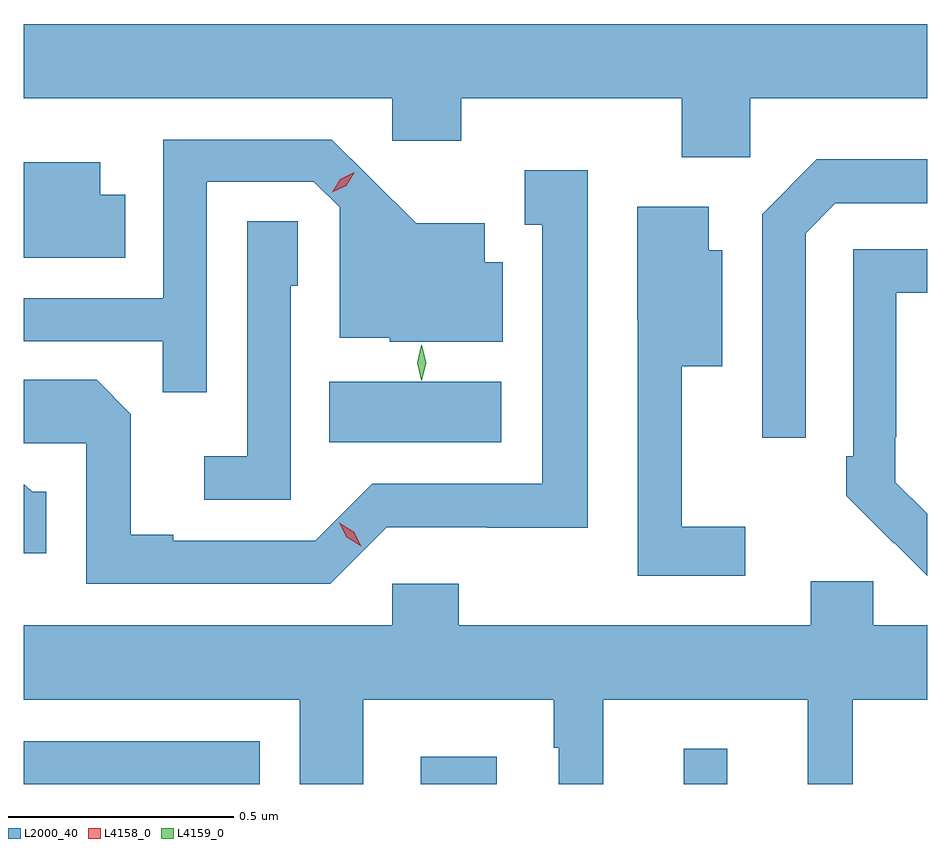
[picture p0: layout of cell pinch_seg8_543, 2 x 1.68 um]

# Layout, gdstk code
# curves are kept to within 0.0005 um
import gdstk
lib = gdstk.Library(unit=1e-6, precision=1e-09)
def R(c, l, rs):  # rectangles x0, y0, x1, y1
    for r in rs: c.add(gdstk.rectangle(r[:2], r[2:], *l))
def P(c, l, *ps):  # polygons
    for p in ps: c.add(gdstk.Polygon(p, *l))
L2000_40 = (2000, 40)
L4158_0 = (4158, 0)
L4159_0 = (4159, 0)

pinch_seg8_543 = lib.new_cell('pinch_seg8_543')
R(pinch_seg8_543, L2000_40, [(121.374,1120.309,121.896,1120.404), (122.253,1120.309,122.421,1120.369), (122.835,1120.309,122.932,1120.387), (122.05,1121.066,122.431,1121.2)])
P(pinch_seg8_543, L2000_40, [(122.982,1121.828),(123.374,1121.828),(123.374,1121.992),(121.374,1121.992),(121.374,1121.828),(122.19,1121.828),(122.19,1121.733),(122.342,1121.733),(122.342,1121.828),(122.831,1121.828),(122.831,1121.697),(122.982,1121.697)],
  [(121.779,1121.643),(122.016,1121.643),(122.073,1121.586),(122.073,1121.297),(122.184,1121.297),(122.184,1121.288),(122.434,1121.288),(122.434,1121.464),(122.395,1121.464),(122.395,1121.551),(122.243,1121.551),(122.056,1121.736),(121.683,1121.736),(121.683,1121.385),(121.374,1121.385),(121.374,1121.289),(121.681,1121.289),(121.681,1121.176),(121.779,1121.176)],
  [(123.105,1121.529),(123.171,1121.595),(123.374,1121.595),(123.374,1121.692),(123.13,1121.692),(123.009,1121.571),(123.009,1121.076),(123.105,1121.076)],
  [(121.598,1121.614),(121.543,1121.614),(121.543,1121.686),(121.374,1121.686),(121.374,1121.474),(121.598,1121.474)],
  [(122.178,1120.878),(122.4,1120.878),(122.4,1120.877),(122.623,1120.877),(122.623,1121.668),(122.483,1121.668),(122.483,1121.547),(122.522,1121.547),(122.522,1120.974),(122.145,1120.974),(122.019,1120.848),(121.705,1120.848),(121.705,1120.861),(121.611,1120.861),(121.611,1121.128),(121.535,1121.204),(121.374,1121.204),(121.374,1121.064),(121.512,1121.064),(121.512,1120.752),(122.052,1120.752)],
  [(122.971,1120.879),(122.831,1120.879),(122.831,1121.234),(122.92,1121.234),(122.92,1121.491),(122.89,1121.491),(122.89,1121.587),(122.732,1121.587),(122.732,1121.338),(122.733,1121.338),(122.733,1120.77),(122.971,1120.77)],
  [(121.965,1121.412),(121.98,1121.412),(121.98,1121.555),(121.869,1121.555),(121.869,1121.035),(121.773,1121.035),(121.773,1120.938),(121.965,1120.938)],
  [(123.374,1120.907),(123.303,1120.977),(123.303,1121.077),(123.306,1121.077),(123.306,1121.397),(123.374,1121.397),(123.374,1121.493),(123.21,1121.493),(123.21,1121.035),(123.195,1121.035),(123.195,1120.947),(123.3,1120.842),(123.301,1120.843),(123.374,1120.77)],
  [(121.423,1120.956),(121.392,1120.956),(121.376,1120.972),(121.374,1120.972),(121.374,1120.82),(121.423,1120.82)],
  [(122.125,1120.496),(122.547,1120.496),(122.547,1120.389),(122.558,1120.389),(122.558,1120.309),(122.657,1120.309),(122.657,1120.496),(123.11,1120.496),(123.11,1120.309),(123.209,1120.309),(123.209,1120.496),(123.374,1120.496),(123.374,1120.66),(123.255,1120.66),(123.255,1120.758),(123.116,1120.758),(123.116,1120.66),(122.337,1120.66),(122.337,1120.753),(122.19,1120.753),(122.19,1120.66),(121.374,1120.66),(121.374,1120.496),(121.985,1120.496),(121.985,1120.309),(122.125,1120.309)])
P(pinch_seg8_543, L4158_0, [(122.121,1120.836),(122.089,1120.855),(122.072,1120.887),(122.072,1120.888),(122.072,1120.888),(122.104,1120.868),(122.121,1120.836),(122.121,1120.836)],
  [(122.057,1121.619),(122.057,1121.619),(122.074,1121.648),(122.105,1121.664),(122.105,1121.664),(122.105,1121.663),(122.088,1121.634),(122.057,1121.619)])
P(pinch_seg8_543, L4159_0, [(122.254,1121.203),(122.245,1121.242),(122.254,1121.281),(122.255,1121.282),(122.255,1121.281),(122.265,1121.242),(122.255,1121.203),(122.255,1121.203)])

lib.write_gds('pinch_seg8_543.gds')
